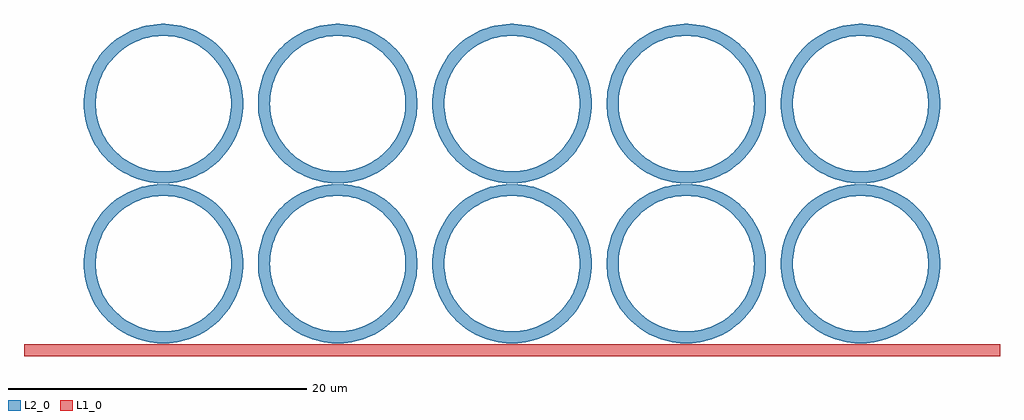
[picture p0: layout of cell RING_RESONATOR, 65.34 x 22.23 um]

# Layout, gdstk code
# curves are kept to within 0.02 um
import gdstk
lib = gdstk.Library(unit=1e-6, precision=1e-09)
def R(c, l, rs):  # rectangles x0, y0, x1, y1
    for r in rs: c.add(gdstk.rectangle(r[:2], r[2:], *l))
def P(c, l, *ps):  # polygons
    for p in ps: c.add(gdstk.Polygon(p, *l))
L1_0 = (1, 0)
L2_0 = (2, 0)

ring_resonator = lib.new_cell('RING_RESONATOR')
R(ring_resonator, L1_0, [(-32.669,-0.4,32.669,0.4)])
P(ring_resonator, L2_0, [(-18.001,5.784),(-18.028,6.315),(-18.107,6.841),(-18.238,7.356),(-18.42,7.856),(-18.651,8.335),(-18.928,8.788),(-19.425,9.412),(-19.806,9.783),(-20.222,10.115),(-20.668,10.403),(-21.141,10.646),(-21.636,10.84),(-22.148,10.984),(-22.672,11.076),(-23.202,11.116),(-23.734,11.103),(-24.261,11.037),(-24.78,10.918),(-25.284,10.749),(-25.769,10.53),(-26.229,10.264),(-26.661,9.954),(-27.059,9.602),(-27.421,9.212),(-27.742,8.788),(-28.019,8.335),(-28.25,7.856),(-28.432,7.356),(-28.563,6.841),(-28.643,6.315),(-28.669,5.784),(-27.869,5.784),(-27.846,6.235),(-27.779,6.682),(-27.668,7.12),(-27.513,7.545),(-27.317,7.952),(-27.081,8.338),(-26.659,8.868),(-26.335,9.183),(-25.982,9.465),(-25.602,9.71),(-24.992,10.004),(-24.563,10.148),(-24.122,10.249),(-23.448,10.316),(-22.996,10.305),(-22.548,10.249),(-21.891,10.082),(-21.471,9.916),(-21.068,9.71),(-20.508,9.328),(-20.17,9.029),(-19.862,8.698),(-19.589,8.338),(-19.25,7.751),(-19.003,7.12),(-18.891,6.682),(-18.824,6.235),(-18.801,5.784)],
  [(-28.669,5.784),(-28.643,5.253),(-28.563,4.727),(-28.432,4.212),(-28.25,3.712),(-28.019,3.233),(-27.742,2.779),(-27.245,2.156),(-26.865,1.785),(-26.449,1.453),(-26.002,1.165),(-25.529,0.922),(-25.034,0.728),(-24.522,0.584),(-23.998,0.491),(-23.468,0.452),(-22.937,0.465),(-22.409,0.531),(-21.891,0.649),(-21.387,0.819),(-20.902,1.037),(-20.441,1.303),(-20.01,1.614),(-19.611,1.966),(-19.249,2.355),(-18.928,2.779),(-18.651,3.233),(-18.42,3.712),(-18.238,4.212),(-18.107,4.727),(-18.028,5.253),(-18.001,5.784),(-18.801,5.784),(-18.824,5.332),(-18.891,4.885),(-19.003,4.447),(-19.157,4.023),(-19.354,3.615),(-19.721,3.046),(-20.012,2.7),(-20.335,2.384),(-20.689,2.103),(-21.068,1.857),(-21.679,1.563),(-22.107,1.419),(-22.548,1.319),(-23.222,1.251),(-23.899,1.285),(-24.344,1.364),(-24.779,1.486),(-25.404,1.749),(-25.795,1.975),(-26.162,2.239),(-26.659,2.7),(-26.949,3.046),(-27.204,3.42),(-27.42,3.817),(-27.596,4.233),(-27.729,4.665),(-27.818,5.108),(-27.869,5.784)],
  [(-6.334,5.784),(-6.36,6.315),(-6.44,6.841),(-6.571,7.356),(-6.753,7.856),(-6.983,8.335),(-7.261,8.788),(-7.582,9.212),(-7.943,9.602),(-8.554,10.115),(-9.001,10.403),(-9.474,10.646),(-9.969,10.84),(-10.481,10.984),(-11.004,11.076),(-11.535,11.116),(-12.066,11.103),(-12.594,11.037),(-13.112,10.918),(-13.616,10.749),(-14.101,10.53),(-14.561,10.264),(-14.993,9.954),(-15.392,9.602),(-15.754,9.212),(-16.075,8.788),(-16.352,8.335),(-16.583,7.856),(-16.764,7.356),(-16.896,6.841),(-16.975,6.315),(-17.001,5.784),(-16.201,5.784),(-16.179,6.235),(-16.112,6.682),(-16,7.12),(-15.845,7.545),(-15.649,7.952),(-15.414,8.338),(-14.991,8.868),(-14.668,9.183),(-14.314,9.465),(-13.935,9.71),(-13.324,10.004),(-12.896,10.148),(-12.455,10.249),(-11.781,10.316),(-11.329,10.305),(-10.88,10.249),(-10.224,10.082),(-9.599,9.818),(-9.208,9.592),(-8.841,9.328),(-8.502,9.029),(-8.195,8.698),(-7.799,8.148),(-7.583,7.751),(-7.407,7.334),(-7.274,6.903),(-7.184,6.46),(-7.134,5.784)],
  [(-17.001,5.784),(-16.975,5.253),(-16.896,4.727),(-16.764,4.212),(-16.583,3.712),(-16.352,3.233),(-16.075,2.779),(-15.578,2.156),(-15.197,1.785),(-14.781,1.453),(-14.335,1.165),(-13.861,0.922),(-13.366,0.728),(-12.854,0.584),(-12.331,0.491),(-11.801,0.452),(-11.269,0.465),(-10.741,0.531),(-10.223,0.649),(-9.719,0.819),(-9.234,1.037),(-8.774,1.303),(-8.342,1.614),(-7.943,1.966),(-7.582,2.355),(-7.261,2.779),(-6.983,3.233),(-6.753,3.712),(-6.571,4.212),(-6.44,4.727),(-6.36,5.253),(-6.334,5.784),(-7.134,5.784),(-7.156,5.332),(-7.224,4.885),(-7.335,4.447),(-7.49,4.023),(-7.686,3.615),(-8.054,3.046),(-8.344,2.7),(-8.668,2.384),(-9.021,2.103),(-9.401,1.857),(-10.011,1.563),(-10.44,1.419),(-10.88,1.319),(-11.555,1.251),(-12.231,1.285),(-12.676,1.364),(-13.112,1.486),(-13.532,1.651),(-13.935,1.857),(-14.494,2.239),(-14.833,2.538),(-15.282,3.046),(-15.536,3.42),(-15.752,3.817),(-15.928,4.233),(-16.112,4.885),(-16.179,5.332),(-16.201,5.784)],
  [(5.334,5.784),(5.307,6.315),(5.228,6.841),(5.097,7.356),(4.915,7.856),(4.684,8.335),(4.407,8.788),(3.91,9.412),(3.529,9.783),(3.114,10.115),(2.667,10.403),(2.194,10.646),(1.699,10.84),(1.187,10.984),(0.663,11.076),(0.133,11.116),(-0.399,11.103),(-0.926,11.037),(-1.445,10.918),(-1.949,10.749),(-2.433,10.53),(-2.894,10.264),(-3.326,9.954),(-3.724,9.602),(-4.086,9.212),(-4.407,8.788),(-4.684,8.335),(-4.915,7.856),(-5.097,7.356),(-5.228,6.841),(-5.307,6.315),(-5.334,5.784),(-4.534,5.784),(-4.511,6.235),(-4.444,6.682),(-4.332,7.12),(-4.178,7.545),(-3.982,7.952),(-3.746,8.338),(-3.324,8.868),(-3,9.183),(-2.647,9.465),(-2.267,9.71),(-1.656,10.004),(-1.228,10.148),(-0.787,10.249),(-0.113,10.316),(0.339,10.305),(0.787,10.249),(1.444,10.082),(1.865,9.916),(2.267,9.71),(2.827,9.328),(3.166,9.029),(3.473,8.698),(3.869,8.148),(4.085,7.751),(4.26,7.334),(4.394,6.903),(4.483,6.46),(4.534,5.784)],
  [(-5.334,5.784),(-5.307,5.253),(-5.228,4.727),(-5.097,4.212),(-4.915,3.712),(-4.684,3.233),(-4.407,2.779),(-3.91,2.156),(-3.529,1.785),(-3.114,1.453),(-2.667,1.165),(-2.194,0.922),(-1.699,0.728),(-1.187,0.584),(-0.663,0.491),(-0.133,0.452),(0.399,0.465),(0.926,0.531),(1.445,0.649),(1.949,0.819),(2.433,1.037),(2.894,1.303),(3.326,1.614),(3.724,1.966),(4.086,2.355),(4.407,2.779),(4.684,3.233),(4.915,3.712),(5.097,4.212),(5.228,4.727),(5.307,5.253),(5.334,5.784),(4.534,5.784),(4.511,5.332),(4.444,4.885),(4.332,4.447),(4.178,4.023),(3.982,3.615),(3.614,3.046),(3.324,2.7),(3,2.384),(2.647,2.103),(2.267,1.857),(1.656,1.563),(1.228,1.419),(0.787,1.319),(0.113,1.251),(-0.564,1.285),(-1.009,1.364),(-1.444,1.486),(-1.865,1.651),(-2.267,1.857),(-2.827,2.239),(-3.324,2.7),(-3.614,3.046),(-3.869,3.42),(-4.085,3.817),(-4.26,4.233),(-4.394,4.665),(-4.483,5.108),(-4.534,5.784)],
  [(17.001,5.784),(16.975,6.315),(16.896,6.841),(16.764,7.356),(16.583,7.856),(16.352,8.335),(16.075,8.788),(15.578,9.412),(15.197,9.783),(14.781,10.115),(14.335,10.403),(13.861,10.646),(13.366,10.84),(12.854,10.984),(12.331,11.076),(11.801,11.116),(11.269,11.103),(10.741,11.037),(10.223,10.918),(9.719,10.749),(9.234,10.53),(8.774,10.264),(8.342,9.954),(7.943,9.602),(7.582,9.212),(7.261,8.788),(6.983,8.335),(6.753,7.856),(6.571,7.356),(6.44,6.841),(6.36,6.315),(6.334,5.784),(7.134,5.784),(7.156,6.235),(7.224,6.682),(7.335,7.12),(7.49,7.545),(7.686,7.952),(7.922,8.338),(8.344,8.868),(8.668,9.183),(9.021,9.465),(9.401,9.71),(10.011,10.004),(10.44,10.148),(10.88,10.249),(11.555,10.316),(12.006,10.305),(12.455,10.249),(13.112,10.082),(13.532,9.916),(13.935,9.71),(14.494,9.328),(14.833,9.029),(15.141,8.698),(15.414,8.338),(15.752,7.751),(15.928,7.334),(16.112,6.682),(16.179,6.235),(16.201,5.784)],
  [(6.334,5.784),(6.36,5.253),(6.44,4.727),(6.571,4.212),(6.753,3.712),(6.983,3.233),(7.261,2.779),(7.582,2.355),(7.943,1.966),(8.554,1.453),(9.001,1.165),(9.474,0.922),(9.969,0.728),(10.481,0.584),(11.004,0.491),(11.535,0.452),(12.066,0.465),(12.594,0.531),(13.112,0.649),(13.616,0.819),(14.101,1.037),(14.561,1.303),(14.993,1.614),(15.392,1.966),(15.754,2.355),(16.075,2.779),(16.352,3.233),(16.583,3.712),(16.764,4.212),(16.896,4.727),(16.975,5.253),(17.001,5.784),(16.201,5.784),(16.179,5.332),(16.112,4.885),(16,4.447),(15.845,4.023),(15.649,3.615),(15.282,3.046),(14.991,2.7),(14.668,2.384),(14.314,2.103),(13.935,1.857),(13.324,1.563),(12.896,1.419),(12.455,1.319),(11.781,1.251),(11.104,1.285),(10.659,1.364),(10.224,1.486),(9.599,1.749),(9.208,1.975),(8.841,2.239),(8.344,2.7),(8.054,3.046),(7.799,3.42),(7.583,3.817),(7.407,4.233),(7.274,4.665),(7.184,5.108),(7.134,5.784)],
  [(28.669,5.784),(28.643,6.315),(28.563,6.841),(28.432,7.356),(28.25,7.856),(28.019,8.335),(27.742,8.788),(27.245,9.412),(26.865,9.783),(26.449,10.115),(26.002,10.403),(25.529,10.646),(25.034,10.84),(24.522,10.984),(23.998,11.076),(23.468,11.116),(22.937,11.103),(22.409,11.037),(21.891,10.918),(21.387,10.749),(20.902,10.53),(20.441,10.264),(20.01,9.954),(19.611,9.602),(19.249,9.212),(18.928,8.788),(18.651,8.335),(18.42,7.856),(18.238,7.356),(18.107,6.841),(18.028,6.315),(18.001,5.784),(18.801,5.784),(18.824,6.235),(18.891,6.682),(19.003,7.12),(19.157,7.545),(19.354,7.952),(19.589,8.338),(20.012,8.868),(20.335,9.183),(20.689,9.465),(21.068,9.71),(21.679,10.004),(22.107,10.148),(22.548,10.249),(23.222,10.316),(23.674,10.305),(24.122,10.249),(24.779,10.082),(25.404,9.818),(25.795,9.592),(26.162,9.328),(26.501,9.029),(26.808,8.698),(27.204,8.148),(27.42,7.751),(27.596,7.334),(27.729,6.903),(27.818,6.46),(27.869,5.784)],
  [(18.001,5.784),(18.028,5.253),(18.107,4.727),(18.238,4.212),(18.42,3.712),(18.651,3.233),(18.928,2.779),(19.425,2.156),(19.806,1.785),(20.222,1.453),(20.668,1.165),(21.141,0.922),(21.636,0.728),(22.148,0.584),(22.672,0.491),(23.202,0.452),(23.734,0.465),(24.261,0.531),(24.78,0.649),(25.284,0.819),(25.769,1.037),(26.229,1.303),(26.661,1.614),(27.059,1.966),(27.421,2.355),(27.742,2.779),(28.019,3.233),(28.25,3.712),(28.432,4.212),(28.563,4.727),(28.643,5.253),(28.669,5.784),(27.869,5.784),(27.846,5.332),(27.779,4.885),(27.668,4.447),(27.513,4.023),(27.317,3.615),(26.949,3.046),(26.659,2.7),(26.335,2.384),(25.982,2.103),(25.602,1.857),(24.992,1.563),(24.563,1.419),(24.122,1.319),(23.448,1.251),(22.771,1.285),(22.326,1.364),(21.891,1.486),(21.471,1.651),(21.068,1.857),(20.508,2.239),(20.012,2.7),(19.721,3.046),(19.467,3.42),(19.25,3.817),(19.003,4.447),(18.891,4.885),(18.824,5.332),(18.801,5.784)],
  [(-18.001,16.501),(-18.028,17.032),(-18.107,17.558),(-18.238,18.074),(-18.42,18.573),(-18.651,19.052),(-18.928,19.506),(-19.249,19.93),(-19.611,20.32),(-20.01,20.672),(-20.441,20.982),(-20.902,21.248),(-21.387,21.467),(-21.891,21.636),(-22.409,21.754),(-23.202,21.834),(-23.734,21.82),(-24.261,21.754),(-24.78,21.636),(-25.284,21.467),(-25.769,21.248),(-26.229,20.982),(-26.661,20.672),(-27.059,20.32),(-27.421,19.93),(-27.742,19.506),(-28.019,19.052),(-28.25,18.573),(-28.432,18.074),(-28.563,17.558),(-28.643,17.032),(-28.669,16.501),(-27.869,16.501),(-27.818,17.177),(-27.729,17.62),(-27.596,18.052),(-27.42,18.469),(-27.204,18.865),(-26.949,19.239),(-26.659,19.585),(-26.335,19.901),(-25.982,20.183),(-25.602,20.428),(-24.992,20.722),(-24.344,20.922),(-23.899,21),(-23.448,21.034),(-22.771,21),(-22.326,20.922),(-21.891,20.799),(-21.471,20.634),(-21.068,20.428),(-20.508,20.046),(-20.17,19.747),(-19.862,19.416),(-19.589,19.055),(-19.25,18.469),(-19.003,17.838),(-18.891,17.4),(-18.824,16.953),(-18.801,16.501)],
  [(-28.669,16.501),(-28.643,15.97),(-28.563,15.445),(-28.432,14.929),(-28.25,14.43),(-28.019,13.95),(-27.742,13.497),(-27.421,13.073),(-27.059,12.683),(-26.661,12.331),(-26.229,12.021),(-25.769,11.755),(-25.284,11.536),(-24.522,11.301),(-23.998,11.209),(-23.468,11.169),(-22.937,11.183),(-22.409,11.249),(-21.891,11.367),(-21.387,11.536),(-20.902,11.755),(-20.441,12.021),(-20.01,12.331),(-19.611,12.683),(-19.249,13.073),(-18.928,13.497),(-18.651,13.95),(-18.42,14.43),(-18.238,14.929),(-18.107,15.445),(-18.028,15.97),(-18.001,16.501),(-18.801,16.501),(-18.824,16.05),(-18.891,15.603),(-19.003,15.165),(-19.157,14.74),(-19.354,14.333),(-19.589,13.947),(-19.862,13.587),(-20.335,13.102),(-20.689,12.82),(-21.068,12.575),(-21.679,12.281),(-22.107,12.137),(-22.548,12.036),(-23.222,11.969),(-23.674,11.98),(-24.122,12.036),(-24.779,12.204),(-25.404,12.467),(-25.795,12.693),(-26.162,12.957),(-26.501,13.256),(-26.808,13.587),(-27.204,14.137),(-27.42,14.534),(-27.596,14.951),(-27.729,15.383),(-27.818,15.826),(-27.869,16.501)],
  [(-6.334,16.501),(-6.36,17.032),(-6.44,17.558),(-6.571,18.074),(-6.753,18.573),(-6.983,19.052),(-7.261,19.506),(-7.582,19.93),(-7.943,20.32),(-8.342,20.672),(-8.774,20.982),(-9.234,21.248),(-9.719,21.467),(-10.223,21.636),(-10.741,21.754),(-11.535,21.834),(-12.066,21.82),(-12.594,21.754),(-13.112,21.636),(-13.616,21.467),(-14.101,21.248),(-14.561,20.982),(-14.993,20.672),(-15.392,20.32),(-15.754,19.93),(-16.075,19.506),(-16.352,19.052),(-16.583,18.573),(-16.764,18.074),(-16.896,17.558),(-16.975,17.032),(-17.001,16.501),(-16.201,16.501),(-16.179,16.953),(-16.112,17.4),(-15.928,18.052),(-15.752,18.469),(-15.536,18.865),(-15.282,19.239),(-14.991,19.585),(-14.668,19.901),(-14.314,20.183),(-13.935,20.428),(-13.324,20.722),(-12.676,20.922),(-12.231,21),(-11.781,21.034),(-11.104,21),(-10.659,20.922),(-10.224,20.799),(-9.599,20.536),(-9.208,20.31),(-8.841,20.046),(-8.502,19.747),(-8.195,19.416),(-7.799,18.865),(-7.583,18.469),(-7.407,18.052),(-7.274,17.62),(-7.184,17.177),(-7.134,16.501)],
  [(-17.001,16.501),(-16.975,15.97),(-16.896,15.445),(-16.764,14.929),(-16.583,14.43),(-16.352,13.95),(-16.075,13.497),(-15.754,13.073),(-15.392,12.683),(-14.993,12.331),(-14.561,12.021),(-14.101,11.755),(-13.616,11.536),(-12.854,11.301),(-12.331,11.209),(-11.801,11.169),(-11.269,11.183),(-10.741,11.249),(-10.223,11.367),(-9.719,11.536),(-9.234,11.755),(-8.774,12.021),(-8.342,12.331),(-7.943,12.683),(-7.582,13.073),(-7.261,13.497),(-6.983,13.95),(-6.753,14.43),(-6.571,14.929),(-6.44,15.445),(-6.36,15.97),(-6.334,16.501),(-7.134,16.501),(-7.156,16.05),(-7.224,15.603),(-7.335,15.165),(-7.49,14.74),(-7.686,14.333),(-7.922,13.947),(-8.344,13.418),(-8.668,13.102),(-9.021,12.82),(-9.401,12.575),(-10.011,12.281),(-10.44,12.137),(-10.88,12.036),(-11.555,11.969),(-12.006,11.98),(-12.455,12.036),(-13.112,12.204),(-13.532,12.369),(-13.935,12.575),(-14.494,12.957),(-14.833,13.256),(-15.141,13.587),(-15.414,13.947),(-15.752,14.534),(-15.928,14.951),(-16.112,15.603),(-16.179,16.05),(-16.201,16.501)],
  [(5.334,16.501),(5.307,17.032),(5.228,17.558),(5.097,18.074),(4.915,18.573),(4.684,19.052),(4.407,19.506),(4.086,19.93),(3.724,20.32),(3.326,20.672),(2.894,20.982),(2.433,21.248),(1.949,21.467),(1.445,21.636),(0.926,21.754),(0.133,21.834),(-0.399,21.82),(-0.926,21.754),(-1.445,21.636),(-1.949,21.467),(-2.433,21.248),(-2.894,20.982),(-3.326,20.672),(-3.724,20.32),(-4.086,19.93),(-4.407,19.506),(-4.684,19.052),(-4.915,18.573),(-5.097,18.074),(-5.228,17.558),(-5.307,17.032),(-5.334,16.501),(-4.534,16.501),(-4.483,17.177),(-4.394,17.62),(-4.26,18.052),(-4.085,18.469),(-3.869,18.865),(-3.614,19.239),(-3.324,19.585),(-3,19.901),(-2.647,20.183),(-2.267,20.428),(-1.656,20.722),(-1.009,20.922),(-0.564,21),(-0.113,21.034),(0.564,21),(1.009,20.922),(1.444,20.799),(1.865,20.634),(2.267,20.428),(2.827,20.046),(3.166,19.747),(3.473,19.416),(3.869,18.865),(4.085,18.469),(4.26,18.052),(4.394,17.62),(4.483,17.177),(4.534,16.501)],
  [(-5.334,16.501),(-5.307,15.97),(-5.228,15.445),(-5.097,14.929),(-4.915,14.43),(-4.684,13.95),(-4.407,13.497),(-4.086,13.073),(-3.724,12.683),(-3.326,12.331),(-2.894,12.021),(-2.433,11.755),(-1.949,11.536),(-1.187,11.301),(-0.663,11.209),(-0.133,11.169),(0.399,11.183),(0.926,11.249),(1.445,11.367),(1.949,11.536),(2.433,11.755),(2.894,12.021),(3.326,12.331),(3.724,12.683),(4.086,13.073),(4.407,13.497),(4.684,13.95),(4.915,14.43),(5.097,14.929),(5.228,15.445),(5.307,15.97),(5.334,16.501),(4.534,16.501),(4.511,16.05),(4.444,15.603),(4.332,15.165),(4.178,14.74),(3.982,14.333),(3.746,13.947),(3.324,13.418),(3,13.102),(2.647,12.82),(2.267,12.575),(1.656,12.281),(1.228,12.137),(0.787,12.036),(0.113,11.969),(-0.339,11.98),(-0.787,12.036),(-1.444,12.204),(-1.865,12.369),(-2.267,12.575),(-2.827,12.957),(-3.166,13.256),(-3.473,13.587),(-3.869,14.137),(-4.085,14.534),(-4.26,14.951),(-4.394,15.383),(-4.483,15.826),(-4.534,16.501)],
  [(17.001,16.501),(16.975,17.032),(16.896,17.558),(16.764,18.074),(16.583,18.573),(16.352,19.052),(16.075,19.506),(15.754,19.93),(15.392,20.32),(14.993,20.672),(14.561,20.982),(14.101,21.248),(13.616,21.467),(13.112,21.636),(12.594,21.754),(11.801,21.834),(11.269,21.82),(10.741,21.754),(10.223,21.636),(9.719,21.467),(9.234,21.248),(8.774,20.982),(8.342,20.672),(7.943,20.32),(7.582,19.93),(7.261,19.506),(6.983,19.052),(6.753,18.573),(6.571,18.074),(6.44,17.558),(6.36,17.032),(6.334,16.501),(7.134,16.501),(7.184,17.177),(7.274,17.62),(7.407,18.052),(7.583,18.469),(7.799,18.865),(8.054,19.239),(8.344,19.585),(8.668,19.901),(9.021,20.183),(9.401,20.428),(10.011,20.722),(10.659,20.922),(11.104,21),(11.555,21.034),(12.231,21),(12.676,20.922),(13.112,20.799),(13.532,20.634),(13.935,20.428),(14.494,20.046),(14.833,19.747),(15.141,19.416),(15.414,19.055),(15.752,18.469),(15.928,18.052),(16.112,17.4),(16.179,16.953),(16.201,16.501)],
  [(6.334,16.501),(6.36,15.97),(6.44,15.445),(6.571,14.929),(6.753,14.43),(6.983,13.95),(7.261,13.497),(7.582,13.073),(7.943,12.683),(8.342,12.331),(8.774,12.021),(9.234,11.755),(9.719,11.536),(10.481,11.301),(11.004,11.209),(11.535,11.169),(12.066,11.183),(12.594,11.249),(13.112,11.367),(13.616,11.536),(14.101,11.755),(14.561,12.021),(14.993,12.331),(15.392,12.683),(15.754,13.073),(16.075,13.497),(16.352,13.95),(16.583,14.43),(16.764,14.929),(16.896,15.445),(16.975,15.97),(17.001,16.501),(16.201,16.501),(16.179,16.05),(16.112,15.603),(16,15.165),(15.845,14.74),(15.649,14.333),(15.414,13.947),(15.141,13.587),(14.668,13.102),(14.314,12.82),(13.935,12.575),(13.324,12.281),(12.896,12.137),(12.455,12.036),(11.781,11.969),(11.329,11.98),(10.88,12.036),(10.224,12.204),(9.599,12.467),(9.208,12.693),(8.841,12.957),(8.502,13.256),(8.195,13.587),(7.799,14.137),(7.583,14.534),(7.407,14.951),(7.274,15.383),(7.184,15.826),(7.134,16.501)],
  [(28.669,16.501),(28.643,17.032),(28.563,17.558),(28.432,18.074),(28.25,18.573),(28.019,19.052),(27.742,19.506),(27.421,19.93),(27.059,20.32),(26.661,20.672),(26.229,20.982),(25.769,21.248),(25.284,21.467),(24.78,21.636),(24.261,21.754),(23.468,21.834),(22.937,21.82),(22.409,21.754),(21.891,21.636),(21.387,21.467),(20.902,21.248),(20.441,20.982),(20.01,20.672),(19.611,20.32),(19.249,19.93),(18.928,19.506),(18.651,19.052),(18.42,18.573),(18.238,18.074),(18.107,17.558),(18.028,17.032),(18.001,16.501),(18.801,16.501),(18.824,16.953),(18.891,17.4),(19.003,17.838),(19.25,18.469),(19.467,18.865),(19.721,19.239),(20.012,19.585),(20.335,19.901),(20.689,20.183),(21.068,20.428),(21.679,20.722),(22.326,20.922),(22.771,21),(23.222,21.034),(23.899,21),(24.344,20.922),(24.779,20.799),(25.404,20.536),(25.795,20.31),(26.162,20.046),(26.501,19.747),(26.808,19.416),(27.204,18.865),(27.42,18.469),(27.596,18.052),(27.729,17.62),(27.818,17.177),(27.869,16.501)],
  [(18.001,16.501),(18.028,15.97),(18.107,15.445),(18.238,14.929),(18.42,14.43),(18.651,13.95),(18.928,13.497),(19.249,13.073),(19.611,12.683),(20.01,12.331),(20.441,12.021),(20.902,11.755),(21.387,11.536),(22.148,11.301),(22.672,11.209),(23.202,11.169),(23.734,11.183),(24.261,11.249),(24.78,11.367),(25.284,11.536),(25.769,11.755),(26.229,12.021),(26.661,12.331),(27.059,12.683),(27.421,13.073),(27.742,13.497),(28.019,13.95),(28.25,14.43),(28.432,14.929),(28.563,15.445),(28.643,15.97),(28.669,16.501),(27.869,16.501),(27.846,16.05),(27.779,15.603),(27.668,15.165),(27.513,14.74),(27.317,14.333),(27.081,13.947),(26.659,13.418),(26.335,13.102),(25.982,12.82),(25.602,12.575),(24.992,12.281),(24.563,12.137),(24.122,12.036),(23.448,11.969),(22.996,11.98),(22.548,12.036),(21.891,12.204),(21.471,12.369),(21.068,12.575),(20.508,12.957),(20.17,13.256),(19.862,13.587),(19.589,13.947),(19.25,14.534),(19.003,15.165),(18.891,15.603),(18.824,16.05),(18.801,16.501)])

lib.write_gds('RING_RESONATOR.gds')
